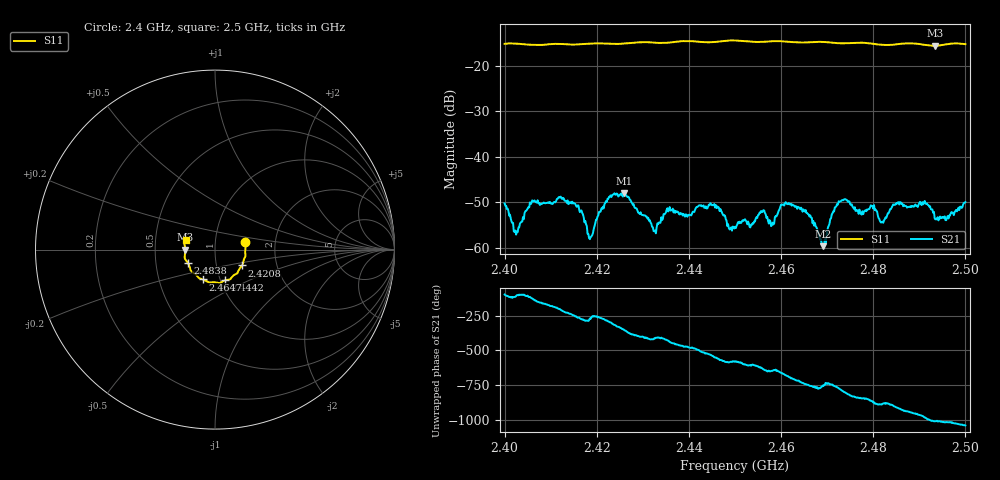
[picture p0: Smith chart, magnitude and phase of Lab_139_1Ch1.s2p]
# Hz S RI R 50
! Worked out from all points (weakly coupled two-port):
!   601 points, 2.4 GHz to 2.5 GHz, reference 50 ohm
!   highest |S21| = -48.00 dB at 2.4258 GHz (marker M1); lowest = -59.6 dB at 2.4692 GHz (marker M2)
!   lowest |S11| = -15.6 dB at 2.4933 GHz (marker M3), VSWR 1.40, Z = 35.8 + j0.0287 ohm
!   |S11| at or under -10 dB: start of sweep to end of sweep
!   S12 and S22 are empty: the file has one direction only
!   S11 on the Smith chart (normalised r, x): 2.4 GHz: 1.40, +0.12; 2.4208 GHz: 1.33, -0.24; 2.4442 GHz: 1.05, -0.37; 2.4647 GHz: 0.83, -0.29; 2.4838 GHz: 0.73, -0.11; 2.5 GHz: 0.71, +0.08
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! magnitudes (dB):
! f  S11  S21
! 2.4 GHz  -15.2  -50.2
! 2.4025 GHz  -15.2  -57.1
! 2.406 GHz  -15.4  -49.6
! 2.4167 GHz  -15.3  -51.7
! 2.4187 GHz  -15.2  -57.6
! 2.4208 GHz  -15.1  -52.0
! 2.4258 GHz  -15.2  -48.0
! 2.4333 GHz  -15.0  -54.8
! 2.4357 GHz  -14.9  -51.6
! 2.4442 GHz  -14.9  -50.9
! 2.45 GHz  -14.5  -55.4
! 2.458 GHz  -14.7  -55.0
! 2.4605 GHz  -14.7  -50.5
! 2.4647 GHz  -14.9  -52.0
! 2.4667 GHz  -14.8  -53.4
! 2.4692 GHz  -14.8  -59.6
! 2.473 GHz  -15.1  -49.7
! 2.4833 GHz  -15.5  -52.4
! 2.4838 GHz  -15.5  -51.5
! 2.4912 GHz  -15.4  -49.7
! 2.4933 GHz  -15.6  -53.5
! 2.5 GHz  -15.3  -49.9
